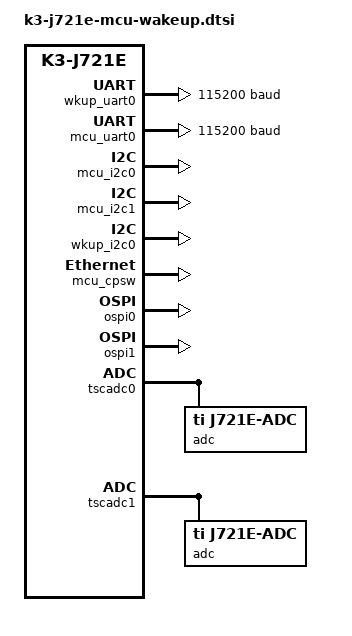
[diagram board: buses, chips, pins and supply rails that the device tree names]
// SPDX-License-Identifier: GPL-2.0
/*
 * Device Tree Source for J721E SoC Family MCU/WAKEUP Domain peripherals
 *
 * Copyright (C) 2016-2019 Texas Instruments Incorporated - http://www.ti.com/
 */

&cbass_mcu_wakeup {
	dmsc: dmsc@44083000 {
		compatible = "ti,k2g-sci";
		ti,host-id = <12>;

		mbox-names = "rx", "tx";

		mboxes= <&secure_proxy_main 11>,
			<&secure_proxy_main 13>;

		reg-names = "debug_messages";
		reg = <0x00 0x44083000 0x0 0x1000>;

		k3_pds: power-controller {
			compatible = "ti,sci-pm-domain";
			#power-domain-cells = <2>;
		};

		k3_clks: clocks {
			compatible = "ti,k2g-sci-clk";
			#clock-cells = <2>;
			ti,scan-clocks-from-dt;
		};

		k3_reset: reset-controller {
			compatible = "ti,sci-reset";
			#reset-cells = <2>;
		};
	};

	mcu_conf: scm_conf@40f00000 {
		compatible = "syscon", "simple-mfd";
		reg = <0x0 0x40f00000 0x0 0x20000>;
		#address-cells = <1>;
		#size-cells = <1>;
		ranges = <0x0 0x0 0x40f00000 0x20000>;

		phy_sel: cpsw-phy-sel@4040 {
			compatible = "ti,am654-cpsw-phy-sel";
			reg = <0x4040 0x4>;
			reg-names = "gmii-sel";
		};
	};

	wkup_pmx0: pinmux@4301c000 {
		compatible = "pinctrl-single";
		/* Proxy 0 addressing */
		reg = <0x00 0x4301c000 0x00 0x178>;
		#pinctrl-cells = <1>;
		pinctrl-single,register-width = <32>;
		pinctrl-single,function-mask = <0xffffffff>;
	};

	wkup_gpio_intr: interrupt-controller2 {
		compatible = "ti,sci-intr";
		interrupt-controller;
		interrupt-parent = <&gic500>;
		#interrupt-cells = <3>;
		ti,sci = <&dmsc>;
		ti,sci-dst-id = <14>;
		ti,sci-rm-range-girq = <0x5>;
	};

	mcu_ram: sram@41c00000 {
		compatible = "mmio-sram";
		reg = <0x00 0x41c00000 0x00 0x100000>;
		ranges = <0x0 0x00 0x41c00000 0x100000>;
		#address-cells = <1>;
		#size-cells = <1>;
	};

	wkup_uart0: serial@42300000 {
		compatible = "ti,j721e-uart", "ti,am654-uart";
		reg = <0x00 0x42300000 0x00 0x100>;
		reg-shift = <2>;
		reg-io-width = <4>;
		interrupts = <GIC_SPI 897 IRQ_TYPE_LEVEL_HIGH>;
		clock-frequency = <48000000>;
		current-speed = <115200>;
		power-domains = <&k3_pds 287 TI_SCI_PD_EXCLUSIVE>;
		clocks = <&k3_clks 287 0>;
		clock-names = "fclk";
	};

	mcu_uart0: serial@40a00000 {
		compatible = "ti,j721e-uart", "ti,am654-uart";
		reg = <0x00 0x40a00000 0x00 0x100>;
		reg-shift = <2>;
		reg-io-width = <4>;
		interrupts = <GIC_SPI 846 IRQ_TYPE_LEVEL_HIGH>;
		clock-frequency = <96000000>;
		current-speed = <115200>;
		power-domains = <&k3_pds 149 TI_SCI_PD_EXCLUSIVE>;
		clocks = <&k3_clks 149 0>;
		clock-names = "fclk";
	};

	wkup_gpio0: gpio@42110000 {
		compatible = "ti,j721e-gpio", "ti,keystone-gpio";
		reg = <0x0 0x42110000 0x0 0x100>;
		gpio-controller;
		#gpio-cells = <2>;
		interrupt-parent = <&wkup_gpio_intr>;
		interrupts = <113 0 IRQ_TYPE_EDGE_RISING>,
			     <113 1 IRQ_TYPE_EDGE_RISING>,
			     <113 2 IRQ_TYPE_EDGE_RISING>,
			     <113 3 IRQ_TYPE_EDGE_RISING>,
			     <113 4 IRQ_TYPE_EDGE_RISING>,
			     <113 5 IRQ_TYPE_EDGE_RISING>;
		interrupt-controller;
		#interrupt-cells = <2>;
		ti,ngpio = <84>;
		ti,davinci-gpio-unbanked = <0>;
		power-domains = <&k3_pds 113 TI_SCI_PD_EXCLUSIVE>;
		clocks = <&k3_clks 113 0>;
		clock-names = "gpio";
	};

	wkup_gpio1: gpio@42100000 {
		compatible = "ti,j721e-gpio", "ti,keystone-gpio";
		reg = <0x0 0x42100000 0x0 0x100>;
		gpio-controller;
		#gpio-cells = <2>;
		interrupt-parent = <&wkup_gpio_intr>;
		interrupts = <114 0 IRQ_TYPE_EDGE_RISING>,
			     <114 1 IRQ_TYPE_EDGE_RISING>,
			     <114 2 IRQ_TYPE_EDGE_RISING>,
			     <114 3 IRQ_TYPE_EDGE_RISING>,
			     <114 4 IRQ_TYPE_EDGE_RISING>,
			     <114 5 IRQ_TYPE_EDGE_RISING>;
		interrupt-controller;
		#interrupt-cells = <2>;
		ti,ngpio = <84>;
		ti,davinci-gpio-unbanked = <0>;
		power-domains = <&k3_pds 114 TI_SCI_PD_EXCLUSIVE>;
		clocks = <&k3_clks 114 0>;
		clock-names = "gpio";
	};

	cbass_mcu_navss: mcu_navss {
		compatible = "simple-bus";
		#address-cells = <2>;
		#size-cells = <2>;
		dma-coherent;
		dma-ranges;
		ranges;

		ti,sci-dev-id = <232>;

		mcu_ringacc: ringacc@2b800000 {
			compatible = "ti,am654-navss-ringacc";
			reg =	<0x0 0x2b800000 0x0 0x400000>,
				<0x0 0x2b000000 0x0 0x400000>,
				<0x0 0x28590000 0x0 0x100>,
				<0x0 0x2a500000 0x0 0x40000>;
			reg-names = "rt", "fifos", "proxy_gcfg", "proxy_target";
			ti,num-rings = <286>;
			ti,sci-rm-range-gp-rings = <0x1>; /* GP ring range */
			ti,sci = <&dmsc>;
			ti,sci-dev-id = <235>;
			interrupt-parent = <&main_udmass_inta>;
		};

		mcu_udmap: udmap@31150000 {
			compatible = "ti,j721e-navss-mcu-udmap";
			reg =	<0x0 0x285c0000 0x0 0x100>,
				<0x0 0x2a800000 0x0 0x40000>,
				<0x0 0x2aa00000 0x0 0x40000>;
			reg-names = "gcfg", "rchanrt", "tchanrt";
			#dma-cells = <3>;

			ti,ringacc = <&mcu_ringacc>;
			ti,psil-base = <0x6000>;

			ti,sci = <&dmsc>;
			ti,sci-dev-id = <236>;

			ti,sci-rm-range-tchan = <0x0d>, /* TX_CHAN */
						<0x0f>; /* TX_HCHAN */
			ti,sci-rm-range-rchan = <0x0a>, /* RX_CHAN */
						<0x0b>; /* RX_HCHAN */
			ti,sci-rm-range-rflow = <0x00>; /* GP RFLOW */

			interrupt-parent = <&main_udmass_inta>;
		};
	};

	pdma_mcu_misc_g0: pdma_mcu_misc_g0 {
		/* MCU_PDMA0 (MCU_PDMA_MISC_G0) */
		ti,psil-base = <0x7100>;

		/* ti,psil-config0-3 */
		UDMA_PDMA_PKT_XY(0);
		UDMA_PDMA_PKT_XY(1);
		UDMA_PDMA_PKT_XY(2);
		UDMA_PDMA_PKT_XY(3);
	};

	pdma_mcu_misc_g1: pdma_mcu_misc_g1 {
		/* MCU_PDMA1 (MCU_PDMA_MISC_G1) */
		ti,psil-base = <0x7200>;

		/* ti,psil-config0-7 */
		UDMA_PDMA_PKT_XY(0);
		UDMA_PDMA_PKT_XY(1);
		UDMA_PDMA_PKT_XY(2);
		UDMA_PDMA_PKT_XY(3);
		UDMA_PDMA_PKT_XY(4);
		UDMA_PDMA_PKT_XY(5);
		UDMA_PDMA_PKT_XY(6);
		UDMA_PDMA_PKT_XY(7);
	};

	pdma_mcu_misc_g2: pdma_mcu_misc_g2 {
		/* MCU_PDMA2 (MCU_PDMA_MISC_G2) */
		ti,psil-base = <0x7300>;

		/* ti,psil-config0 */
		UDMA_PDMA_PKT_XY(0);
	};

	pdma_mcu_adc: pdma_mcu_adc {
		/* MCU_PDMA_ADC */
		ti,psil-base = <0x7400>;

		/* ti,psil-config0 */
		UDMA_PDMA_TR_XY(0);
		UDMA_PDMA_TR_XY(1);
		UDMA_PDMA_TR_XY(2);
		UDMA_PDMA_TR_XY(3);
	};

	mcu_i2c0: i2c@40b00000 {
		compatible = "ti,j721e-i2c", "ti,omap4-i2c";
		reg = <0x0 0x40b00000 0x0 0x100>;
		interrupts = <GIC_SPI 852 IRQ_TYPE_LEVEL_HIGH>;
		#address-cells = <1>;
		#size-cells = <0>;
		clock-names = "fck";
		clocks = <&k3_clks 194 0>;
		power-domains = <&k3_pds 194 TI_SCI_PD_EXCLUSIVE>;
	};

	mcu_i2c1: i2c@40b10000 {
		compatible = "ti,j721e-i2c", "ti,omap4-i2c";
		reg = <0x0 0x40b10000 0x0 0x100>;
		interrupts = <GIC_SPI 853 IRQ_TYPE_LEVEL_HIGH>;
		#address-cells = <1>;
		#size-cells = <0>;
		clock-names = "fck";
		clocks = <&k3_clks 195 0>;
		power-domains = <&k3_pds 195 TI_SCI_PD_EXCLUSIVE>;
	};

	wkup_i2c0: i2c@42120000 {
		compatible = "ti,j721e-i2c", "ti,omap4-i2c";
		reg = <0x0 0x42120000 0x0 0x100>;
		interrupts = <GIC_SPI 896 IRQ_TYPE_LEVEL_HIGH>;
		#address-cells = <1>;
		#size-cells = <0>;
		clock-names = "fck";
		clocks = <&k3_clks 197 0>;
		power-domains = <&k3_pds 197 TI_SCI_PD_SHARED>;
	};

	mcu_cpsw: ethernet@046000000 {
		compatible = "ti,j721e-cpsw-nuss";
		#address-cells = <2>;
		#size-cells = <2>;
		reg = <0x0 0x46000000 0x0 0x200000>;
		reg-names = "cpsw_nuss";
		ranges;
		dma-coherent;
		clocks = <&k3_clks 18 22>;
		clock-names = "fck";
		power-domains = <&k3_pds 18 TI_SCI_PD_EXCLUSIVE>;
		ti,psil-base = <0x7000>;
		cpsw-phy-sel = <&phy_sel>;

		interrupt-parent = <&main_udmass_inta>;

		dmas = <&mcu_udmap &mcu_cpsw 0 UDMA_DIR_TX>,
		       <&mcu_udmap &mcu_cpsw 1 UDMA_DIR_TX>,
		       <&mcu_udmap &mcu_cpsw 2 UDMA_DIR_TX>,
		       <&mcu_udmap &mcu_cpsw 3 UDMA_DIR_TX>,
		       <&mcu_udmap &mcu_cpsw 4 UDMA_DIR_TX>,
		       <&mcu_udmap &mcu_cpsw 5 UDMA_DIR_TX>,
		       <&mcu_udmap &mcu_cpsw 6 UDMA_DIR_TX>,
		       <&mcu_udmap &mcu_cpsw 7 UDMA_DIR_TX>,
		       <&mcu_udmap &mcu_cpsw 0 UDMA_DIR_RX>;
		dma-names = "tx0", "tx1", "tx2", "tx3",
			    "tx4", "tx5", "tx6", "tx7",
			    "rx";

		ports {
			#address-cells = <1>;
			#size-cells = <0>;

			host: host@0 {
				reg = <0>;
				ti,label = "host";
			};

			cpsw_port1: port@1 {
				reg = <1>;
				ti,mac-only;
				ti,label = "port1";
				ti,syscon-efuse = <&mcu_conf 0x200>;
			};
		};

		davinci_mdio: mdio {
			#address-cells = <1>;
			#size-cells = <0>;
			bus_freq = <1000000>;
		};

		cpts {
			clocks = <&k3_clks 18 2>;
			clock-names = "cpts";
			interrupts-extended = <&gic500 GIC_SPI 858 IRQ_TYPE_LEVEL_HIGH>;
			interrupt-names = "cpts";
			ti,cpts-ext-ts-inputs = <4>;
			ti,cpts-periodic-outputs = <2>;
		};

		ti,psil-config0 {
			linux,udma-mode = <UDMA_PKT_MODE>;
			statictr-type = <PSIL_STATIC_TR_NONE>;
			ti,needs-epib;
			ti,psd-size = <16>;
		};

		ti,psil-config1 {
			linux,udma-mode = <UDMA_PKT_MODE>;
			statictr-type = <PSIL_STATIC_TR_NONE>;
			ti,needs-epib;
			ti,psd-size = <16>;
		};

		ti,psil-config2 {
			linux,udma-mode = <UDMA_PKT_MODE>;
			statictr-type = <PSIL_STATIC_TR_NONE>;
			ti,needs-epib;
			ti,psd-size = <16>;
		};

		ti,psil-config3 {
			linux,udma-mode = <UDMA_PKT_MODE>;
			statictr-type = <PSIL_STATIC_TR_NONE>;
			ti,needs-epib;
			ti,psd-size = <16>;
		};

		ti,psil-config4 {
			linux,udma-mode = <UDMA_PKT_MODE>;
			statictr-type = <PSIL_STATIC_TR_NONE>;
			ti,needs-epib;
			ti,psd-size = <16>;
		};

		ti,psil-config5 {
			linux,udma-mode = <UDMA_PKT_MODE>;
			statictr-type = <PSIL_STATIC_TR_NONE>;
			ti,needs-epib;
			ti,psd-size = <16>;
		};

		ti,psil-config6 {
			linux,udma-mode = <UDMA_PKT_MODE>;
			statictr-type = <PSIL_STATIC_TR_NONE>;
			ti,needs-epib;
			ti,psd-size = <16>;
		};

		ti,psil-config7 {
			linux,udma-mode = <UDMA_PKT_MODE>;
			statictr-type = <PSIL_STATIC_TR_NONE>;
			ti,needs-epib;
			ti,psd-size = <16>;
		};
	};

	fss: fss@47000000 {
		compatible = "syscon", "simple-mfd";
		reg = <0x0 0x47000000 0x0 0x100>;
		#address-cells = <2>;
		#size-cells = <2>;
		ranges;

		ospi0: spi@47040000 {
			compatible = "ti,j721e-ospi", "ti,am654-ospi";
			reg = <0x0 0x47040000 0x0 0x100>,
				<0x5 0x00000000 0x1 0x0000000>;
			interrupts = <GIC_SPI 840 IRQ_TYPE_LEVEL_HIGH>;
			cdns,fifo-depth = <256>;
			cdns,fifo-width = <4>;
			cdns,trigger-address = <0x0>;
			clocks = <&k3_clks 103 0>;
			assigned-clocks = <&k3_clks 103 0>;
			assigned-clock-parents = <&k3_clks 103 2>;
			assigned-clock-rates = <166666666>;
			power-domains = <&k3_pds 103 TI_SCI_PD_EXCLUSIVE>;
			#address-cells = <1>;
			#size-cells = <0>;
		};

		hbmc_mux: hbmc-mux {
			compatible = "mmio-mux";
			#mux-control-cells = <1>;
			mux-reg-masks = <0x4 0x2>; /* HBMC select */
		};

		hbmc: hyperbus@47034000 {
			compatible = "ti,j721e-hbmc", "ti,am654-hbmc";
			reg = <0x0 0x47034000 0x0 0x100>,
				<0x5 0x00000000 0x1 0x0000000>;
			power-domains = <&k3_pds 102 TI_SCI_PD_EXCLUSIVE>;
			clocks = <&k3_clks 102 0>;
			assigned-clocks = <&k3_clks 102 0>;
			assigned-clock-rates = <250000000>;
			#address-cells = <2>;
			#size-cells = <1>;
			mux-controls = <&hbmc_mux 0>;
		};

		ospi1: spi@47050000 {
			compatible = "ti,j721e-ospi", "ti,am654-ospi";
			reg = <0x0 0x47050000 0x0 0x100>,
				<0x7 0x00000000 0x1 0x00000000>;
			interrupts = <GIC_SPI 841 IRQ_TYPE_LEVEL_HIGH>;
			cdns,fifo-depth = <256>;
			cdns,fifo-width = <4>;
			cdns,trigger-address = <0x0>;
			clocks = <&k3_clks 104 0>;
			power-domains = <&k3_pds 104 TI_SCI_PD_EXCLUSIVE>;
			#address-cells = <1>;
			#size-cells = <0>;
		};
	};

	mcu_r5fss0: r5fss@41000000 {
		compatible = "ti,j721e-r5fss";
		lockstep-mode = <1>;
		#address-cells = <1>;
		#size-cells = <1>;
		ranges = <0x41000000 0x00 0x41000000 0x20000>,
			 <0x41400000 0x00 0x41400000 0x20000>;
		power-domains = <&k3_pds 249 TI_SCI_PD_EXCLUSIVE>;

		mcu_r5fss0_core0: r5f@41000000 {
			compatible = "ti,j721e-r5f";
			reg = <0x41000000 0x00008000>,
			      <0x41010000 0x00008000>;
			reg-names = "atcm", "btcm";
			ti,sci = <&dmsc>;
			ti,sci-dev-id = <250>;
			ti,sci-proc-ids = <0x01 0xFF>;
			resets = <&k3_reset 250 1>;
			atcm-enable = <1>;
			btcm-enable = <1>;
			loczrama = <1>;
			mboxes = <&mailbox0_cluster0 &mbox_mcu_r5fss0_core0>;
		};

		mcu_r5fss0_core1: r5f@41400000 {
			compatible = "ti,j721e-r5f";
			reg = <0x41400000 0x00008000>,
			      <0x41410000 0x00008000>;
			reg-names = "atcm", "btcm";
			ti,sci = <&dmsc>;
			ti,sci-dev-id = <251>;
			ti,sci-proc-ids = <0x02 0xFF>;
			resets = <&k3_reset 251 1>;
			atcm-enable = <1>;
			btcm-enable = <1>;
			loczrama = <1>;
			mboxes = <&mailbox0_cluster0 &mbox_mcu_r5fss0_core1>;
		};
	};

	tscadc0: tscadc@40200000 {
		compatible = "ti,j721e-tscadc", "ti,am3359-tscadc";
		reg = <0x0 0x40200000 0x0 0x1000>;
		interrupts = <GIC_SPI 860 IRQ_TYPE_LEVEL_HIGH>;
		power-domains = <&k3_pds 0 TI_SCI_PD_EXCLUSIVE>;
		clocks = <&k3_clks 0 1>;
		assigned-clocks = <&k3_clks 0 3>;
		assigned-clock-rates = <60000000>;
		clock-names = "adc_tsc_fck";
		dmas = <&main_udmap &pdma_mcu_adc 0 UDMA_DIR_RX>,
			<&main_udmap &pdma_mcu_adc 1 UDMA_DIR_RX>;
		dma-names = "fifo0", "fifo1";

		adc {
			#io-channel-cells = <1>;
			compatible = "ti,j721e-adc", "ti,am3359-adc";
		};
	};

	tscadc1: tscadc@40210000 {
		compatible = "ti,j721e-tscadc", "ti,am3359-tscadc";
		reg = <0x0 0x40210000 0x0 0x1000>;
		interrupts = <GIC_SPI 861 IRQ_TYPE_LEVEL_HIGH>;
		power-domains = <&k3_pds 1 TI_SCI_PD_EXCLUSIVE>;
		clocks = <&k3_clks 1 1>;
		assigned-clocks = <&k3_clks 1 3>;
		assigned-clock-rates = <60000000>;
		clock-names = "adc_tsc_fck";
		dmas = <&main_udmap &pdma_mcu_adc 2 UDMA_DIR_RX>,
			<&main_udmap &pdma_mcu_adc 3 UDMA_DIR_RX>;
		dma-names = "fifo0", "fifo1";

		adc {
			#io-channel-cells = <1>;
			compatible = "ti,j721e-adc", "ti,am3359-adc";
		};
	};
};
